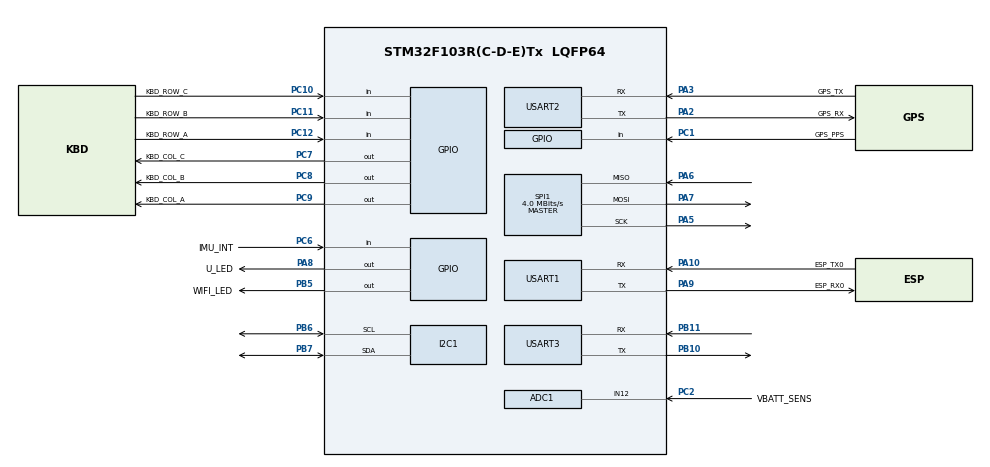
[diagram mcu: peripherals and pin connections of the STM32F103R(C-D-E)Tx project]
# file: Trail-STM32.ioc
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ADC1.Channel-0\#ChannelRegularConversion=ADC_CHANNEL_12
ADC1.NbrOfConversionFlag=1
ADC1.Rank-0\#ChannelRegularConversion=1
ADC1.SamplingTime-0\#ChannelRegularConversion=ADC_SAMPLETIME_1CYCLE_5
ADC1.master=1
FREERTOS.Tasks01=defaultTask,0,128,StartDefaultTask,Default,NULL,Dynamic,NULL,NULL
Mcu.Family=STM32F1
Mcu.Name=STM32F103R(C-D-E)Tx
Mcu.Package=LQFP64
NVIC.PriorityGroup=NVIC_PRIORITYGROUP_4
NVIC.TIM1_UP_IRQn=true\:15\:0\:false\:false\:true\:false\:false\:true\:true
NVIC.TimeBase=TIM1_UP_IRQn
NVIC.TimeBaseIP=TIM1
PA10.GPIO_Label=ESP_TX0
PA10.Mode=Asynchronous
PA10.Signal=USART1_RX
PA13.Mode=Serial_Wire
PA13.Signal=SYS_JTMS-SWDIO
PA14.Mode=Serial_Wire
PA14.Signal=SYS_JTCK-SWCLK
PA2.GPIO_Label=GPS_RX
PA2.Mode=Asynchronous
PA2.Signal=USART2_TX
PA3.GPIO_Label=GPS_TX
PA3.Mode=Asynchronous
PA3.Signal=USART2_RX
PA5.Mode=Full_Duplex_Master
PA5.Signal=SPI1_SCK
PA6.Mode=Full_Duplex_Master
PA6.Signal=SPI1_MISO
PA7.Mode=Full_Duplex_Master
PA7.Signal=SPI1_MOSI
PA8.GPIO_Label=U_LED
PA8.Signal=GPIO_Output
PA9.GPIO_Label=ESP_RX0
PA9.Mode=Asynchronous
PA9.Signal=USART1_TX
PB10.Mode=Asynchronous
PB10.Signal=USART3_TX
PB11.Mode=Asynchronous
PB11.Signal=USART3_RX
PB5.GPIO_Label=WIFI_LED
PB5.Signal=GPIO_Output
PB6.Mode=I2C
PB6.Signal=I2C1_SCL
PB7.Mode=I2C
PB7.Signal=I2C1_SDA
PC1.GPIO_Label=GPS_PPS
PC1.Signal=GPIO_Input
PC10.GPIO_Label=KBD_ROW_C
PC10.GPIO_PuPd=GPIO_PULLUP
PC10.Signal=GPIO_Input
PC11.GPIO_Label=KBD_ROW_B
PC11.GPIO_PuPd=GPIO_PULLUP
PC11.Signal=GPIO_Input
PC12.GPIO_Label=KBD_ROW_A
PC12.GPIO_PuPd=GPIO_PULLUP
PC12.Signal=GPIO_Input
PC2.GPIO_Label=VBATT_SENS
PC2.Signal=ADCx_IN12
PC6.GPIO_Label=IMU_INT
PC6.Signal=GPIO_Input
PC7.GPIO_Label=KBD_COL_C
PC7.Signal=GPIO_Output
PC8.GPIO_Label=KBD_COL_B
PC8.Signal=GPIO_Output
PC9.GPIO_Label=KBD_COL_A
PC9.Signal=GPIO_Output
PD0-OSC_IN.Mode=HSE-External-Oscillator
PD0-OSC_IN.Signal=RCC_OSC_IN
PD1-OSC_OUT.Mode=HSE-External-Oscillator
PD1-OSC_OUT.Signal=RCC_OSC_OUT
ProjectManager.HeapSize=0x200
ProjectManager.StackSize=0x400
ProjectManager.TargetToolchain=STM32CubeIDE
RCC.APB1Freq_Value=8000000
RCC.APB2Freq_Value=8000000
SH.ADCx_IN12.0=ADC1_IN12,IN12
SPI1.CalculateBaudRate=4.0 MBits/s
SPI1.Direction=SPI_DIRECTION_2LINES
SPI1.Mode=SPI_MODE_MASTER
SPI1.VirtualType=VM_MASTER
USART1.VirtualMode=VM_ASYNC
USART2.VirtualMode=VM_ASYNC
USART3.VirtualMode=VM_ASYNC
VP_FREERTOS_VS_CMSIS_V1.Mode=CMSIS_V1
VP_SYS_VS_tim1.Mode=TIM1
board=custom

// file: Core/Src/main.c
/* USER CODE BEGIN Header */
/**
  ******************************************************************************
  * @file           : main.c
  * @brief          : Main program body
  * @author			: Edwin Mwiti
  ******************************************************************************
  * @attention
  *
  * Copyright (c) 2025 STMicroelectronics.
  * All rights reserved.
  *
  * This software is licensed under terms that can be found in the LICENSE file
  * in the root directory of this software component.
  * If no LICENSE file comes with this software, it is provided AS-IS.
  *
  ******************************************************************************
  */
/* USER CODE END Header */
#include "main.h"
#include "cmsis_os.h"

/* USER CODE BEGIN Includes */
#include "string.h"
#include "stdio.h"
#include "stdlib.h"
#include "config.h"
#include "globals.h"
#include "state-machine.h"
#include "keypad.h"

/* USER CODE END Includes */

ADC_HandleTypeDef hadc1;

I2C_HandleTypeDef hi2c1;

SPI_HandleTypeDef hspi1;

UART_HandleTypeDef huart1;
UART_HandleTypeDef huart2;
UART_HandleTypeDef huart3;

osThreadId defaultTaskHandle;
/* USER CODE BEGIN PV */

/**
 * Private task handles
 */
osThreadId xTaskReadGPSHandle;				/*!< Task to read GPS */
osThreadId xTaskReadIMUHandle;				/*!< Task to read IMU */
osThreadId xTaskReadCompassHandle;			/*!< Task to read compass */
osThreadId xTaskReadBMPHandle;				/*!< Task to read BMP */
osThreadId xTaskReadESPWIFIHandle;			/*!< Task to read ESP serial data */
osThreadId xTaskSensorFusionHandle;			/*!< Task to perform sensor fusion */
osThreadId xTaskDisplayUpdateHandle;		/*!< Task to update the display */
osThreadId xTaskReadKeypadHandle;			/*!< Task to read keypad button */
osThreadId xTaskLEDsUpdateHandle;			/*!< Task to read update LEDs */

/* USER CODE END PV */

void SystemClock_Config(void);
static void MX_GPIO_Init(void);
static void MX_ADC1_Init(void);
static void MX_I2C1_Init(void);
static void MX_SPI1_Init(void);
static void MX_USART1_UART_Init(void);
static void MX_USART2_UART_Init(void);
static void MX_USART3_UART_Init(void);
void StartDefaultTask(void const * argument);

/* USER CODE BEGIN PFP */

/**
 * Create the task function prototypes
 */
void xTaskReadGPS(void const* pvParamaters);
void xTaskReadIMU(void const* pvParameters);
void xTaskReadCompass(void const* pvParameters);
void xTaskReadBMP(void const* pvParameters);
void xTaskReadESPWIFI(void const* pvParameters);
void xTaskSensorFusion(void const* pvParameters);
void xTaskDisplayUpdate(void const* pvParameters);
void xTaskReadKeypad(void const* pvParameters);
void xTaskLEDsUpdate(void const* pvParameters);

/* USER CODE END PFP */

/* USER CODE BEGIN 0 */

/*
 * keypad instance
 */
Keypad keypad;

uint8_t activate_wifi = 1;

/* initial system state */
state_type_t wifi_sm_state = STATE_WIFI_CONNECT;

/* USER CODE END 0 */

int main(void)
{

  /* MCU Configuration--------------------------------------------------------*/

  /* Reset of all peripherals, Initializes the Flash interface and the Systick. */
  HAL_Init();

  /* Configure the system clock */
  SystemClock_Config();

  /* Initialize all configured peripherals */
  MX_GPIO_Init();
  MX_ADC1_Init();
  MX_I2C1_Init();
  MX_SPI1_Init();
  MX_USART1_UART_Init();
  MX_USART2_UART_Init();
  MX_USART3_UART_Init();

  /* USER CODE BEGIN 2 */

  /**
   * Initialize keypad
   */
  Keypad_initialise(&keypad);

  /* USER CODE END 2 */

  /* Create the thread(s) */
  /* definition and creation of defaultTask */
  osThreadDef(defaultTask, StartDefaultTask, osPriorityNormal, 0, 128);
  defaultTaskHandle = osThreadCreate(osThread(defaultTask), NULL);

  /* USER CODE BEGIN RTOS_THREADS */
  /* add threads, ... */

  /* tasks creation */
	osThreadDef(xTaskReadESP, xTaskReadESPWIFI, osPriorityNormal, 0, 128); /* read ESPWIFI task */
	xTaskReadESPWIFIHandle = osThreadCreate(osThread(xTaskReadESP), NULL);

	osThreadDef(xTaskScanKeypad, xTaskReadKeypad, osPriorityNormal, 0, 128); /* scan keypad task */
	xTaskReadKeypadHandle = osThreadCreate(osThread(xTaskScanKeypad), NULL);

  /* USER CODE END RTOS_THREADS */

  /* Start scheduler */
  osKernelStart();

  /* We should never get here as control is now taken by the scheduler */

  /* Infinite loop */
  while (1)
  {

    /* USER CODE BEGIN 3 */
	  HAL_GPIO_TogglePin(U_LED_GPIO_Port, U_LED_Pin);
	  HAL_Delay(1200);
  }
  /* USER CODE END 3 */
}

void SystemClock_Config(void)
{
  RCC_OscInitTypeDef RCC_OscInitStruct = {0};
  RCC_ClkInitTypeDef RCC_ClkInitStruct = {0};
  RCC_PeriphCLKInitTypeDef PeriphClkInit = {0};

  /** Initializes the RCC Oscillators according to the specified parameters
  * in the RCC_OscInitTypeDef structure.
  */
  RCC_OscInitStruct.OscillatorType = RCC_OSCILLATORTYPE_HSI;
  RCC_OscInitStruct.HSIState = RCC_HSI_ON;
  RCC_OscInitStruct.HSICalibrationValue = RCC_HSICALIBRATION_DEFAULT;
  RCC_OscInitStruct.PLL.PLLState = RCC_PLL_NONE;
  if (HAL_RCC_OscConfig(&RCC_OscInitStruct) != HAL_OK)
  {
    Error_Handler();
  }

  /** Initializes the CPU, AHB and APB buses clocks
  */
  RCC_ClkInitStruct.ClockType = RCC_CLOCKTYPE_HCLK|RCC_CLOCKTYPE_SYSCLK
                              |RCC_CLOCKTYPE_PCLK1|RCC_CLOCKTYPE_PCLK2;
  RCC_ClkInitStruct.SYSCLKSource = RCC_SYSCLKSOURCE_HSI;
  RCC_ClkInitStruct.AHBCLKDivider = RCC_SYSCLK_DIV1;
  RCC_ClkInitStruct.APB1CLKDivider = RCC_HCLK_DIV1;
  RCC_ClkInitStruct.APB2CLKDivider = RCC_HCLK_DIV1;

  if (HAL_RCC_ClockConfig(&RCC_ClkInitStruct, FLASH_LATENCY_0) != HAL_OK)
  {
    Error_Handler();
  }
  PeriphClkInit.PeriphClockSelection = RCC_PERIPHCLK_ADC;
  PeriphClkInit.AdcClockSelection = RCC_ADCPCLK2_DIV2;
  if (HAL_RCCEx_PeriphCLKConfig(&PeriphClkInit) != HAL_OK)
  {
    Error_Handler();
  }
}

static void MX_ADC1_Init(void)
{

  ADC_ChannelConfTypeDef sConfig = {0};

  /** Common config
  */
  hadc1.Instance = ADC1;
  hadc1.Init.ScanConvMode = ADC_SCAN_DISABLE;
  hadc1.Init.ContinuousConvMode = DISABLE;
  hadc1.Init.DiscontinuousConvMode = DISABLE;
  hadc1.Init.ExternalTrigConv = ADC_SOFTWARE_START;
  hadc1.Init.DataAlign = ADC_DATAALIGN_RIGHT;
  hadc1.Init.NbrOfConversion = 1;
  if (HAL_ADC_Init(&hadc1) != HAL_OK)
  {
    Error_Handler();
  }

  /** Configure Regular Channel
  */
  sConfig.Channel = ADC_CHANNEL_12;
  sConfig.Rank = ADC_REGULAR_RANK_1;
  sConfig.SamplingTime = ADC_SAMPLETIME_1CYCLE_5;
  if (HAL_ADC_ConfigChannel(&hadc1, &sConfig) != HAL_OK)
  {
    Error_Handler();
  }

}

static void MX_I2C1_Init(void)
{

  hi2c1.Instance = I2C1;
  hi2c1.Init.ClockSpeed = 100000;
  hi2c1.Init.DutyCycle = I2C_DUTYCYCLE_2;
  hi2c1.Init.OwnAddress1 = 0;
  hi2c1.Init.AddressingMode = I2C_ADDRESSINGMODE_7BIT;
  hi2c1.Init.DualAddressMode = I2C_DUALADDRESS_DISABLE;
  hi2c1.Init.OwnAddress2 = 0;
  hi2c1.Init.GeneralCallMode = I2C_GENERALCALL_DISABLE;
  hi2c1.Init.NoStretchMode = I2C_NOSTRETCH_DISABLE;
  if (HAL_I2C_Init(&hi2c1) != HAL_OK)
  {
    Error_Handler();
  }

}

static void MX_SPI1_Init(void)
{

  /* SPI1 parameter configuration*/
  hspi1.Instance = SPI1;
  hspi1.Init.Mode = SPI_MODE_MASTER;
  hspi1.Init.Direction = SPI_DIRECTION_2LINES;
  hspi1.Init.DataSize = SPI_DATASIZE_8BIT;
  hspi1.Init.CLKPolarity = SPI_POLARITY_LOW;
  hspi1.Init.CLKPhase = SPI_PHASE_1EDGE;
  hspi1.Init.NSS = SPI_NSS_SOFT;
  hspi1.Init.BaudRatePrescaler = SPI_BAUDRATEPRESCALER_2;
  hspi1.Init.FirstBit = SPI_FIRSTBIT_MSB;
  hspi1.Init.TIMode = SPI_TIMODE_DISABLE;
  hspi1.Init.CRCCalculation = SPI_CRCCALCULATION_DISABLE;
  hspi1.Init.CRCPolynomial = 10;
  if (HAL_SPI_Init(&hspi1) != HAL_OK)
  {
    Error_Handler();
  }

}

static void MX_USART1_UART_Init(void)
{

  huart1.Instance = USART1;
  huart1.Init.BaudRate = 115200;
  huart1.Init.WordLength = UART_WORDLENGTH_8B;
  huart1.Init.StopBits = UART_STOPBITS_1;
  huart1.Init.Parity = UART_PARITY_NONE;
  huart1.Init.Mode = UART_MODE_TX_RX;
  huart1.Init.HwFlowCtl = UART_HWCONTROL_NONE;
  huart1.Init.OverSampling = UART_OVERSAMPLING_16;
  if (HAL_UART_Init(&huart1) != HAL_OK)
  {
    Error_Handler();
  }

}

static void MX_USART2_UART_Init(void)
{

  huart2.Instance = USART2;
  huart2.Init.BaudRate = 115200;
  huart2.Init.WordLength = UART_WORDLENGTH_8B;
  huart2.Init.StopBits = UART_STOPBITS_1;
  huart2.Init.Parity = UART_PARITY_NONE;
  huart2.Init.Mode = UART_MODE_TX_RX;
  huart2.Init.HwFlowCtl = UART_HWCONTROL_NONE;
  huart2.Init.OverSampling = UART_OVERSAMPLING_16;
  if (HAL_UART_Init(&huart2) != HAL_OK)
  {
    Error_Handler();
  }

}

static void MX_USART3_UART_Init(void)
{

  huart3.Instance = USART3;
  huart3.Init.BaudRate = 115200;
  huart3.Init.WordLength = UART_WORDLENGTH_8B;
  huart3.Init.StopBits = UART_STOPBITS_1;
  huart3.Init.Parity = UART_PARITY_NONE;
  huart3.Init.Mode = UART_MODE_TX_RX;
  huart3.Init.HwFlowCtl = UART_HWCONTROL_NONE;
  huart3.Init.OverSampling = UART_OVERSAMPLING_16;
  if (HAL_UART_Init(&huart3) != HAL_OK)
  {
    Error_Handler();
  }

}

static void MX_GPIO_Init(void)
{
  GPIO_InitTypeDef GPIO_InitStruct = {0};

  /* GPIO Ports Clock Enable */
  __HAL_RCC_GPIOD_CLK_ENABLE();
  __HAL_RCC_GPIOC_CLK_ENABLE();
  __HAL_RCC_GPIOA_CLK_ENABLE();
  __HAL_RCC_GPIOB_CLK_ENABLE();

  /*Configure GPIO pin Output Level */
  HAL_GPIO_WritePin(GPIOC, KBD_COL_C_Pin|KBD_COL_B_Pin|KBD_COL_A_Pin, GPIO_PIN_RESET);

  /*Configure GPIO pin Output Level */
  HAL_GPIO_WritePin(U_LED_GPIO_Port, U_LED_Pin, GPIO_PIN_RESET);

  /*Configure GPIO pin Output Level */
  HAL_GPIO_WritePin(WIFI_LED_GPIO_Port, WIFI_LED_Pin, GPIO_PIN_RESET);

  /*Configure GPIO pins : GPS_PPS_Pin IMU_INT_Pin */
  GPIO_InitStruct.Pin = GPS_PPS_Pin|IMU_INT_Pin;
  GPIO_InitStruct.Mode = GPIO_MODE_INPUT;
  GPIO_InitStruct.Pull = GPIO_NOPULL;
  HAL_GPIO_Init(GPIOC, &GPIO_InitStruct);

  /*Configure GPIO pins : KBD_COL_C_Pin KBD_COL_B_Pin KBD_COL_A_Pin */
  GPIO_InitStruct.Pin = KBD_COL_C_Pin|KBD_COL_B_Pin|KBD_COL_A_Pin;
  GPIO_InitStruct.Mode = GPIO_MODE_OUTPUT_PP;
  GPIO_InitStruct.Pull = GPIO_NOPULL;
  GPIO_InitStruct.Speed = GPIO_SPEED_FREQ_LOW;
  HAL_GPIO_Init(GPIOC, &GPIO_InitStruct);

  /*Configure GPIO pin : U_LED_Pin */
  GPIO_InitStruct.Pin = U_LED_Pin;
  GPIO_InitStruct.Mode = GPIO_MODE_OUTPUT_PP;
  GPIO_InitStruct.Pull = GPIO_NOPULL;
  GPIO_InitStruct.Speed = GPIO_SPEED_FREQ_LOW;
  HAL_GPIO_Init(U_LED_GPIO_Port, &GPIO_InitStruct);

  /*Configure GPIO pins : KBD_ROW_C_Pin KBD_ROW_B_Pin KBD_ROW_A_Pin */
  GPIO_InitStruct.Pin = KBD_ROW_C_Pin|KBD_ROW_B_Pin|KBD_ROW_A_Pin;
  GPIO_InitStruct.Mode = GPIO_MODE_INPUT;
  GPIO_InitStruct.Pull = GPIO_PULLUP;
  HAL_GPIO_Init(GPIOC, &GPIO_InitStruct);

  /*Configure GPIO pin : WIFI_LED_Pin */
  GPIO_InitStruct.Pin = WIFI_LED_Pin;
  GPIO_InitStruct.Mode = GPIO_MODE_OUTPUT_PP;
  GPIO_InitStruct.Pull = GPIO_NOPULL;
  GPIO_InitStruct.Speed = GPIO_SPEED_FREQ_LOW;
  HAL_GPIO_Init(WIFI_LED_GPIO_Port, &GPIO_InitStruct);

}

/* USER CODE BEGIN 4 */

/**
 * @brief This task reads the data received from ESP32 and extracts the WIFI state
 *
 */
void xTaskReadESPWIFI(void const *pvParameters) {
	uint8_t uart1_rx_buffer[RECEIVED_WIFI_STATE_LENGTH];
	char wifi_state[RECEIVED_WIFI_STATE_LENGTH];

	for(;;) {

		HAL_GPIO_TogglePin(U_LED_GPIO_Port, U_LED_Pin);
		vTaskDelay(pdMS_TO_TICKS(200));

		/* receive state from ESP32 */
		HAL_StatusTypeDef status = HAL_UART_Receive(&huart1, uart1_rx_buffer, sizeof(uart1_rx_buffer), 200);

		if(status == HAL_OK) {

			/* convert received byte array to char */
			for(size_t i = 0; i < sizeof(uart1_rx_buffer); i++) {
				wifi_state[i] = (char) uart1_rx_buffer[i];
			}

//			if ( (strcmp(wifi_state, '0')) == 0) {
//				/* state is WIFI_PROVISION_REQUEST */
//				wifi_sm_state = STATE;
//			}

			//HAL_UART_Transmit(&huart3, (uint8_t*)wifi_state , sizeof(wifi_state), 100);

		} else {
			//HAL_UART_Transmit(&huart3, (uint8_t*)"Timeout\r\n", sizeof("Timeout\r\n"), 100);
		}

		vTaskDelay(pdMS_TO_TICKS(5)); /* prevent task starvation */

	}
}

/**
 * @brief This task scans the keypad for for key presses
 *
 */
void xTaskReadKeypad (void const* argument) {
	char n[10];
	for(;;) {
		int len = sprintf(n, "%d\r\n", keypad.Keypad_get_num_cols(&keypad));
		HAL_UART_Transmit(&huart3, (uint8_t*)n, len, HAL_MAX_DELAY);
		vTaskDelay(5);
	}

}

/* USER CODE END 4 */

void StartDefaultTask(void const * argument)
{
  for(;;)
  {
    osDelay(1);
  }
}

void HAL_TIM_PeriodElapsedCallback(TIM_HandleTypeDef *htim)
{
  if (htim->Instance == TIM1)
  {
    HAL_IncTick();
  }
}

void Error_Handler(void)
{
  __disable_irq();
  while (1)
  {
  }
}
